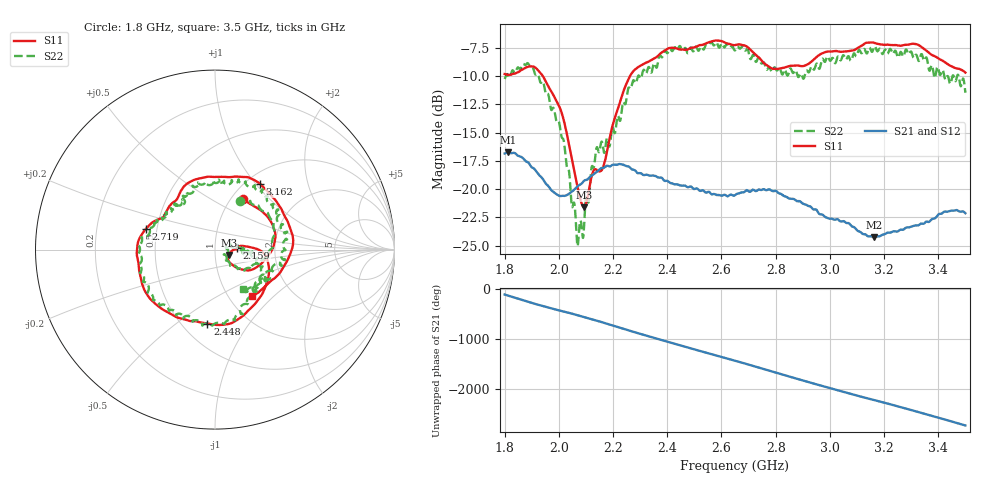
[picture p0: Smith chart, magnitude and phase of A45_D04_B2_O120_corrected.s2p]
! Created with skrf 1.9.0 (http://scikit-rf.org).
# Hz S RI R 50.0
!freq ReS11 ImS11 ReS21 ImS21 ReS12 ImS12 ReS22 ImS22
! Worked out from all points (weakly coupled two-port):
!   1601 points, 1.8 GHz to 3.5 GHz, reference 50 ohm
!   highest |S21| = -16.74 dB at 1.812 GHz (marker M1); lowest = -24.3 dB at 3.162 GHz (marker M2)
!   lowest |S11| = -21.6 dB at 2.093 GHz (marker M3), VSWR 1.18, Z = 58.3 - j3.51 ohm
!   |S11| at or under -10 dB: 1.941 GHz to 2.263 GHz (321.6 MHz wide, 15.3 % of centre)
!   |S22| runs from -25.0 to -7.0 dB; largest |S21 - S12| = 0.0023
!   S11 on the Smith chart (normalised r, x): 1.8 GHz: 1.14, +0.71; 2.159 GHz: 1.28, +0.02; 2.448 GHz: 0.66, -0.66; 2.719 GHz: 0.44, +0.12; 3.162 GHz: 1.16, +1.06; 3.5 GHz: 1.28, -0.73
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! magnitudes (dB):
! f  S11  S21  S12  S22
! 1.8 GHz  -9.8  -16.8  -16.9  -10.3
! 1.812 GHz  -9.9  -16.7  -16.7  -9.9
! 1.883 GHz  -9.2  -17.6  -17.6  -8.9
! 1.942 GHz  -10.1  -19.1  -19.1  -10.5
! 2.013 GHz  -13.4  -20.6  -20.6  -15.5
! 2.067 GHz  -19.5  -19.8  -19.8  -24.6
! 2.084 GHz  -21.2  -19.5  -19.5  -23.2
! 2.093 GHz  -21.6  -19.3  -19.3  -23.3
! 2.128 GHz  -18.4  -18.7  -18.7  -18.1
! 2.159 GHz  -18.3  -18.1  -18.1  -15.8
! 2.188 GHz  -15.5  -18.0  -18.0  -16.2
! 2.259 GHz  -10.2  -18.0  -18.0  -11.0
! 2.367 GHz  -8.2  -19.0  -18.9  -8.5
! 2.448 GHz  -7.7  -19.7  -19.7  -7.4
! 2.65 GHz  -7.3  -20.5  -20.5  -7.7
! 2.719 GHz  -7.9  -20.1  -20.0  -8.2
! 2.792 GHz  -9.4  -20.2  -20.2  -9.3
! 2.934 GHz  -8.7  -21.7  -21.6  -9.2
! 3.162 GHz  -7.0  -24.3  -24.2  -7.5
! 3.217 GHz  -7.2  -23.8  -23.8  -7.8
! 3.321 GHz  -7.2  -23.2  -23.2  -8.2
! 3.5 GHz  -9.7  -22.1  -22.1  -11.5
